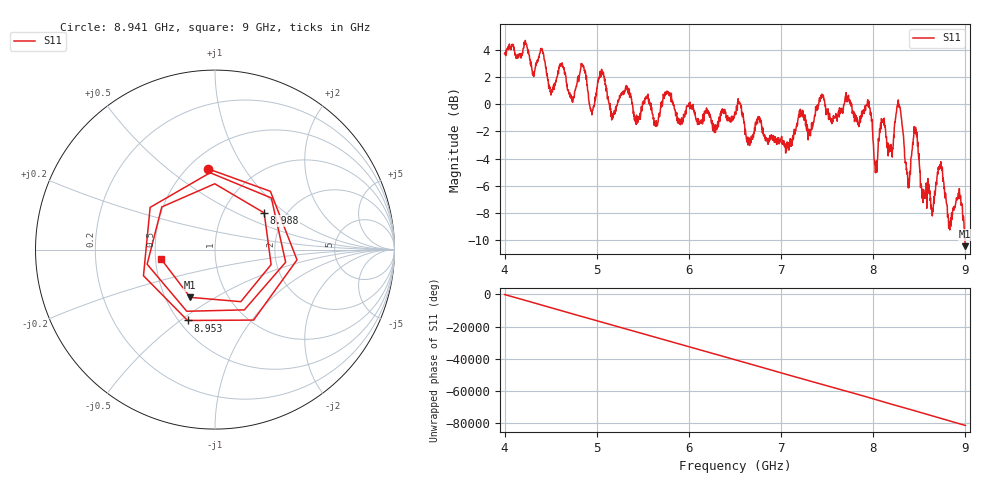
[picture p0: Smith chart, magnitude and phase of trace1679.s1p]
! Created with skrf 1.8.0 (http://scikit-rf.org).
# Hz S RI R 50.0
!freq ReS11 ImS11
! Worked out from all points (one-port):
!   1601 points, 4 GHz to 9 GHz, reference 50 ohm
!   lowest |S11| = -10.5 dB at 8.997 GHz (marker M1), VSWR 1.86, Z = 33.3 - j19.5 ohm
!   |S11| at or under -10 dB: 8.994917 GHz to end of sweep
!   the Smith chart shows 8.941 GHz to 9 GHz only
!   S11 on the Smith chart (normalised r, x): 8.941 GHz: 0.62, +0.70; 8.953 GHz: 0.55, -0.53; 8.988 GHz: 1.55, +0.72; 9 GHz: 0.54, -0.06
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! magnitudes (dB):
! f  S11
! 4 GHz  3.7
! 4.403 GHz  4.0
! 4.503 GHz  0.7
! 4.625 GHz  3.1
! 4.731 GHz  0.2
! 4.853 GHz  2.8
! 4.947 GHz  -0.8
! 5.05 GHz  2.1
! 5.172 GHz  -0.7
! 5.25 GHz  0.7
! 5.875 GHz  -1.0
! 6.5 GHz  -0.8
! 7.125 GHz  -2.4
! 7.75 GHz  0.1
! 7.953 GHz  0.2
! 8.028 GHz  -4.8
! 8.278 GHz  -0.1
! 8.375 GHz  -5.6
! 8.459 GHz  -1.7
! 8.547 GHz  -6.3
! 8.65 GHz  -7.8
! 8.725 GHz  -4.5
! 8.831 GHz  -9.3
! 8.941 GHz  -6.9
! 8.953 GHz  -7.5
! 8.988 GHz  -9.3
! 8.997 GHz  -10.5
! 9 GHz  -10.3
